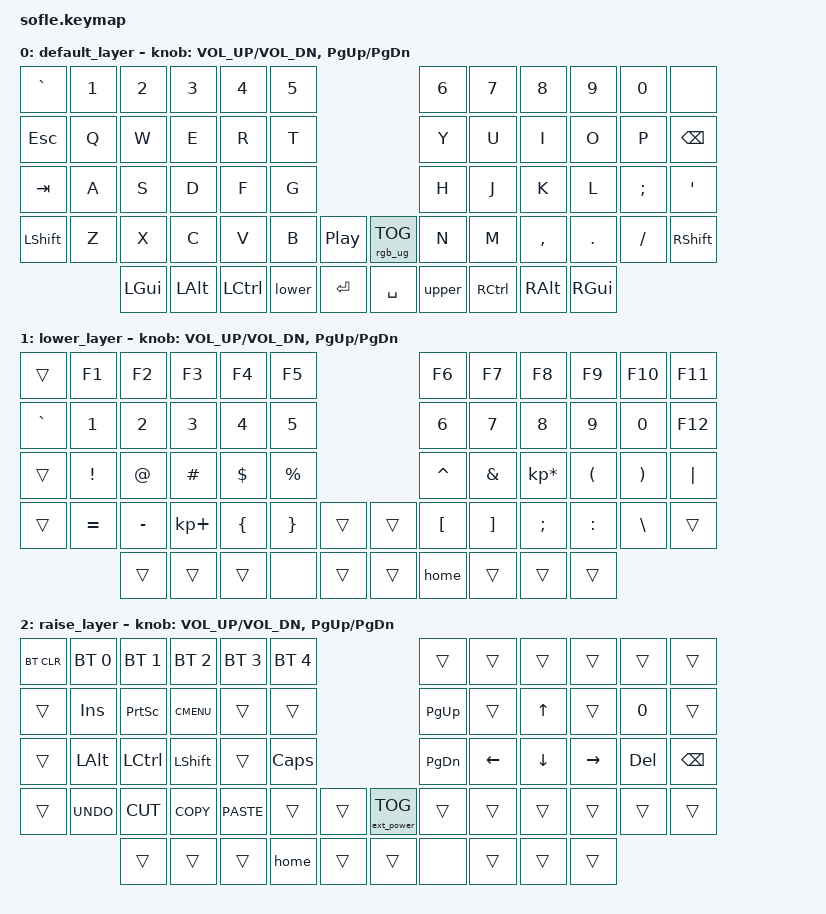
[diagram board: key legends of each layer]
/*
 * Copyright (c) 2020 The ZMK Contributors
 *
 * SPDX-License-Identifier: MIT
 */

#include <behaviors.dtsi>

/*
 * Temporarily here because nice nano v2 spi is not defined on ZMK Yet
 * Source: https://github.com/zmkfirmware/zmk/blob/main/app/boards/shields/reviung41/boards/nice_nano.overlay
 * GitHub Issue: https://github.com/zmkfirmware/zmk/issues/885
 */

#include <dt-bindings/led/led.h>
#include <dt-bindings/zmk/bt.h>
#include <dt-bindings/zmk/ext_power.h>
#include <dt-bindings/zmk/keys.h>
#include <dt-bindings/zmk/rgb.h>

&pinctrl {
    spi3_default: spi3_default {
        group1 {
            psels = <NRF_PSEL(SPIM_MOSI, 0, 8)>;
        };
    };
    spi3_sleep: spi3_sleep {
        group1 {
            psels = <NRF_PSEL(SPIM_MOSI, 0, 8)>;
            low-power-enable;
        };
    };
};

&spi3 {
    compatible = "nordic,nrf-spim";
    status = "okay";
    pinctrl-0 = <&spi3_default>;
    pinctrl-1 = <&spi3_sleep>;
    pinctrl-names = "default", "sleep";

    led_strip: ws2812@0 {
        compatible = "worldsemi,ws2812-spi";
        label = "WS2812";

        /* SPI */

        reg = <0>; /* ignored, but necessary for SPI bindings */
        spi-max-frequency = <4000000>;

        /* WS2812 */

        chain-length = <30>;
        spi-one-frame = <0x70>;
        spi-zero-frame = <0x40>;
        color-mapping = <LED_COLOR_ID_GREEN LED_COLOR_ID_RED LED_COLOR_ID_BLUE>;
    };
};

/ {
    chosen {
        zmk,underglow = &led_strip;
    };
};

/* END temporary RGB support section */

/ {
    macros {
        home: home {
            compatible = "zmk,behavior-macro";
            #binding-cells = <0>;
            bindings = <&to 0 &rgb_ug RGB_COLOR_HSB(323,100,50)>;
            label = "HOME";
        };
        lower: lower {
            compatible = "zmk,behavior-macro";
            #binding-cells = <0>;
            bindings = <&to 1 &rgb_ug RGB_COLOR_HSB(197,100,50)>;
            label = "LOWER";
        };
        upper: upper {
            compatible = "zmk,behavior-macro";
            #binding-cells = <0>;
            bindings = <&to 2 &rgb_ug RGB_COLOR_HSB(15,100,50)>;
            label = "UPPER";
        };
    };

    keymap {
        compatible = "zmk,keymap";

        default_layer {
            // ------------------------------------------------------------------------------------------------------------------
            // |  `    |  1  |  2  |  3   |  4   |  5   |                         |  6   |  7    |  8    |  9   |   0   |       |
            // |  ESC  |  Q  |  W  |  E   |  R   |  T   |                         |  Y   |  U    |  I    |  O   |   P   | BKSPC |
            // |  TAB  |  A  |  S  |  D   |  F   |  G   |                         |  H   |  J    |  K    |  L   |   ;   |   '   |
            // | SHIFT |  Z  |  X  |  C   |  V   |  B   |  MUTE  |        | ExtPw |  N   |  M    |  ,    |  .   |   /   | SHIFT |
            //               | GUI | ALT  | CTRL | LOWER|  ENTER |        | SPACE | RAISE| CTRL  | ALT   | GUI  |

            bindings = <
&kp GRAVE  &kp N1  &kp N2    &kp N3    &kp N4     &kp N5                               &kp N6  &kp N7     &kp N8     &kp N9    &kp N0    &none
&kp ESC    &kp Q   &kp W     &kp E     &kp R      &kp T                                &kp Y   &kp U      &kp I      &kp O     &kp P     &kp BSPC
&kp TAB    &kp A   &kp S     &kp D     &kp F      &kp G                                &kp H   &kp J      &kp K      &kp L     &kp SEMI  &kp SQT
&kp LSHFT  &kp Z   &kp X     &kp C     &kp V      &kp B   &kp C_PP    &rgb_ug RGB_TOG  &kp N   &kp M      &kp COMMA  &kp DOT   &kp FSLH  &kp RSHFT
                   &kp LGUI  &kp LALT  &kp LCTRL  &lower  &kp RET     &kp SPACE        &upper  &kp RCTRL  &kp RALT   &kp RGUI
            >;

            sensor-bindings = <&inc_dec_kp C_VOL_UP C_VOL_DN &inc_dec_kp PG_UP PG_DN>;
        };

        lower_layer {
            // TODO: Some binds are waiting for shifted keycode support.
            // ------------------------------------------------------------------------------------------------------------
            // |       |  F1 |  F2 |  F3  |  F4  |  F5  |                   |  F6  |  F7   |  F8   |  F9  |  F10  |  F11  |
            // | `     |   1 |   2 |   3  |   4  |   5  |                   |   6  |   7   |   8   |   9  |    0  |  F12  |
            // |       |  !  |  @  |  #   |  $   |  %   |                   |  ^   |  &    |  *    |  (   |   )   |   |   |
            // |       |  =  |  -  |  +   |  {   |  }   |        |  |       |  [   |  ]    |  ;    |  :   |   \   |       |
            //               |     |      |      |      |        |  |       |      |       |       |      |

            bindings = <
&trans     &kp F1     &kp F2     &kp F3       &kp F4    &kp F5                       &kp F6     &kp F7    &kp F8           &kp F9     &kp F10   &kp F11
&kp GRAVE  &kp N1     &kp N2     &kp N3       &kp N4    &kp N5                       &kp N6     &kp N7    &kp N8           &kp N9     &kp N0    &kp F12
&trans     &kp EXCL   &kp AT     &kp HASH     &kp DLLR  &kp PRCNT                    &kp CARET  &kp AMPS  &kp KP_MULTIPLY  &kp LPAR   &kp RPAR  &kp PIPE
&trans     &kp EQUAL  &kp MINUS  &kp KP_PLUS  &kp LBRC  &kp RBRC   &trans    &trans  &kp LBKT   &kp RBKT  &kp SEMI         &kp COLON  &kp BSLH  &trans
                      &trans     &trans       &trans    &none      &trans    &trans  &home      &trans    &trans           &trans
            >;

            sensor-bindings = <&inc_dec_kp C_VOL_UP C_VOL_DN &inc_dec_kp PG_UP PG_DN>;
        };

        raise_layer {
            // ------------------------------------------------------------------------------------------------------------
            // |BTCLR| BT1  | BT2  |  BT3  |  BT4  |  BT5 |                 |      |      |       |      |       |       |
            // |     | INS  | PSCR | GUI   |       |      |                 | PGUP |      |   ^   |      |       |       |
            // |     | ALT  | CTRL | SHIFT |       | CAPS |                 | PGDN |   <- |   v   |  ->  |  DEL  | BKSPC |
            // |     | UNDO | CUT  | COPY  | PASTE |      |      |   | RGB  |      |      |       |      |       |       |
            //              |      |       |       |      |      |   |      |      |      |       |      |

            bindings = <
&bt BT_CLR  &bt BT_SEL 0  &bt BT_SEL 1  &bt BT_SEL 2  &bt BT_SEL 3  &bt BT_SEL 4                               &trans     &trans    &trans    &trans     &trans   &trans
&trans      &kp INS       &kp PSCRN     &kp K_CMENU   &trans        &trans                                     &kp PG_UP  &trans    &kp UP    &trans     &kp N0   &trans
&trans      &kp LALT      &kp LCTRL     &kp LSHFT     &trans        &kp CLCK                                   &kp PG_DN  &kp LEFT  &kp DOWN  &kp RIGHT  &kp DEL  &kp BSPC
&trans      &kp K_UNDO    &kp K_CUT     &kp K_COPY    &kp K_PASTE   &trans        &trans    &ext_power EP_TOG  &trans     &trans    &trans    &trans     &trans   &trans
                          &trans        &trans        &trans        &home         &trans    &trans             &none      &trans    &trans    &trans
            >;

            sensor-bindings = <&inc_dec_kp C_VOL_UP C_VOL_DN &inc_dec_kp PG_UP PG_DN>;
        };
    };
};
